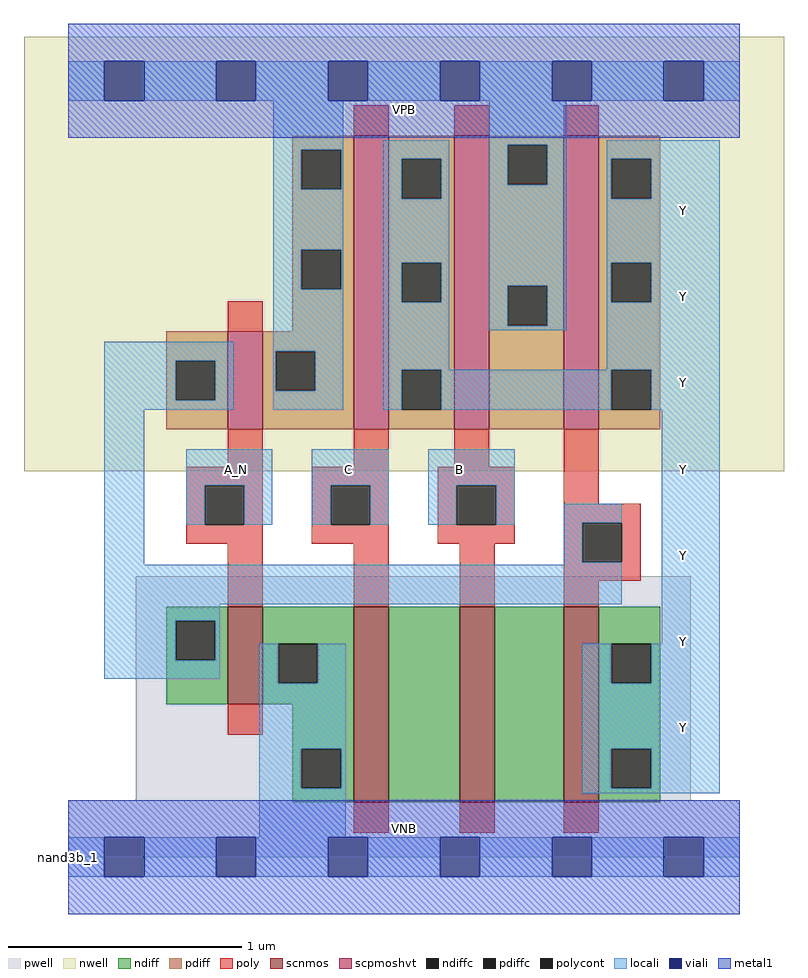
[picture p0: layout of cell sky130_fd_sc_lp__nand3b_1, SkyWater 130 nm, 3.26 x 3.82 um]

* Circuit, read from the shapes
.subckt sky130_fd_sc_lp__nand3b_1 A_N B C VGND VNB VPB VPWR Y
XM1 VGND A_N n1 VNB sky130_fd_pr__nfet_01v8 w=0.42 l=0.15
XM2 n2 C VGND VNB sky130_fd_pr__nfet_01v8 w=0.84 l=0.15
XM3 n3 B n2 VNB sky130_fd_pr__nfet_01v8 w=0.84 l=0.15
XM4 Y n1 n3 VNB sky130_fd_pr__nfet_01v8 w=0.84 l=0.15
XM5 VPWR A_N n1 VPB sky130_fd_pr__pfet_01v8_hvt w=0.42 l=0.15
XM6 Y C VPWR VPB sky130_fd_pr__pfet_01v8_hvt w=1.26 l=0.15
XM7 VPWR B Y VPB sky130_fd_pr__pfet_01v8_hvt w=1.26 l=0.15
XM8 Y n1 VPWR VPB sky130_fd_pr__pfet_01v8_hvt w=1.26 l=0.15
.ends

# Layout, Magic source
magic
tech sky130A
magscale 1 2
<< nwell >>
rect -38 331 614 704
<< pwell >>
rect 58 49 534 241
rect 0 0 576 49
<< scnmos >>
rect 137 131 167 215
rect 245 47 275 215
rect 336 47 366 215
rect 425 47 455 215
<< scpmoshvt >>
rect 137 367 167 451
rect 245 367 275 619
rect 331 367 361 619
rect 425 367 455 619
<< ndiff >>
rect 84 203 137 215
rect 84 169 92 203
rect 126 169 137 203
rect 84 131 137 169
rect 167 183 245 215
rect 167 149 180 183
rect 214 149 245 183
rect 167 131 245 149
rect 192 93 245 131
rect 192 59 200 93
rect 234 59 245 93
rect 192 47 245 59
rect 275 47 336 215
rect 366 47 425 215
rect 455 183 508 215
rect 455 149 466 183
rect 500 149 508 183
rect 455 93 508 149
rect 455 59 466 93
rect 500 59 508 93
rect 455 47 508 59
<< pdiff >>
rect 192 607 245 619
rect 192 573 200 607
rect 234 573 245 607
rect 192 521 245 573
rect 192 487 200 521
rect 234 487 245 521
rect 192 451 245 487
rect 84 426 137 451
rect 84 392 92 426
rect 126 392 137 426
rect 84 367 137 392
rect 167 434 245 451
rect 167 400 178 434
rect 212 400 245 434
rect 167 367 245 400
rect 275 599 331 619
rect 275 565 286 599
rect 320 565 331 599
rect 275 510 331 565
rect 275 476 286 510
rect 320 476 331 510
rect 275 418 331 476
rect 275 384 286 418
rect 320 384 331 418
rect 275 367 331 384
rect 361 611 425 619
rect 361 577 377 611
rect 411 577 425 611
rect 361 490 425 577
rect 361 456 377 490
rect 411 456 425 490
rect 361 367 425 456
rect 455 599 508 619
rect 455 565 466 599
rect 500 565 508 599
rect 455 510 508 565
rect 455 476 466 510
rect 500 476 508 510
rect 455 418 508 476
rect 455 384 466 418
rect 500 384 508 418
rect 455 367 508 384
<< ndiffc >>
rect 92 169 126 203
rect 180 149 214 183
rect 200 59 234 93
rect 466 149 500 183
rect 466 59 500 93
<< pdiffc >>
rect 200 573 234 607
rect 200 487 234 521
rect 92 392 126 426
rect 178 400 212 434
rect 286 565 320 599
rect 286 476 320 510
rect 286 384 320 418
rect 377 577 411 611
rect 377 456 411 490
rect 466 565 500 599
rect 466 476 500 510
rect 466 384 500 418
<< poly >>
rect 245 619 275 645
rect 331 619 361 645
rect 425 619 455 645
rect 137 451 167 477
rect 137 335 167 367
rect 245 335 275 367
rect 331 335 361 367
rect 101 319 167 335
rect 101 285 117 319
rect 151 285 167 319
rect 101 269 167 285
rect 209 319 275 335
rect 209 285 225 319
rect 259 285 275 319
rect 209 269 275 285
rect 317 319 383 335
rect 317 285 333 319
rect 367 285 383 319
rect 317 269 383 285
rect 425 303 455 367
rect 425 287 491 303
rect 137 215 167 269
rect 245 215 275 269
rect 336 215 366 269
rect 425 253 441 287
rect 475 253 491 287
rect 425 237 491 253
rect 425 215 455 237
rect 137 105 167 131
rect 245 21 275 47
rect 336 21 366 47
rect 425 21 455 47
<< polycont >>
rect 117 285 151 319
rect 225 285 259 319
rect 333 285 367 319
rect 441 253 475 287
<< locali >>
rect 0 649 31 683
rect 65 649 127 683
rect 161 649 223 683
rect 257 649 319 683
rect 353 649 415 683
rect 449 649 511 683
rect 545 649 576 683
rect 176 607 236 649
rect 176 573 200 607
rect 234 573 236 607
rect 176 521 236 573
rect 176 487 200 521
rect 234 487 236 521
rect 31 426 142 442
rect 31 392 92 426
rect 126 392 142 426
rect 31 384 142 392
rect 176 434 236 487
rect 176 400 178 434
rect 212 400 236 434
rect 176 384 236 400
rect 270 599 327 615
rect 270 565 286 599
rect 320 565 327 599
rect 270 510 327 565
rect 270 476 286 510
rect 320 476 327 510
rect 270 418 327 476
rect 361 611 427 649
rect 361 577 377 611
rect 411 577 427 611
rect 361 490 427 577
rect 361 456 377 490
rect 411 456 427 490
rect 361 452 427 456
rect 462 599 559 615
rect 462 565 466 599
rect 500 565 559 599
rect 462 510 559 565
rect 462 476 466 510
rect 500 476 559 510
rect 462 418 559 476
rect 270 384 286 418
rect 320 384 466 418
rect 500 384 559 418
rect 31 251 65 384
rect 101 319 175 350
rect 101 285 117 319
rect 151 285 175 319
rect 209 319 275 350
rect 209 285 225 319
rect 259 285 275 319
rect 309 319 383 350
rect 309 285 333 319
rect 367 285 383 319
rect 425 287 475 303
rect 425 253 441 287
rect 425 251 475 253
rect 31 217 475 251
rect 31 203 130 217
rect 31 169 92 203
rect 126 169 130 203
rect 509 183 559 384
rect 31 153 130 169
rect 164 149 180 183
rect 214 149 238 183
rect 164 93 238 149
rect 164 59 200 93
rect 234 59 238 93
rect 164 17 238 59
rect 441 149 466 183
rect 500 149 559 183
rect 441 93 559 149
rect 441 59 466 93
rect 500 59 559 93
rect 441 55 559 59
rect 0 -17 31 17
rect 65 -17 127 17
rect 161 -17 223 17
rect 257 -17 319 17
rect 353 -17 415 17
rect 449 -17 511 17
rect 545 -17 576 17
<< viali >>
rect 31 649 65 683
rect 127 649 161 683
rect 223 649 257 683
rect 319 649 353 683
rect 415 649 449 683
rect 511 649 545 683
rect 31 -17 65 17
rect 127 -17 161 17
rect 223 -17 257 17
rect 319 -17 353 17
rect 415 -17 449 17
rect 511 -17 545 17
<< metal1 >>
rect 0 683 576 715
rect 0 649 31 683
rect 65 649 127 683
rect 161 649 223 683
rect 257 649 319 683
rect 353 649 415 683
rect 449 649 511 683
rect 545 649 576 683
rect 0 617 576 649
rect 0 17 576 49
rect 0 -17 31 17
rect 65 -17 127 17
rect 161 -17 223 17
rect 257 -17 319 17
rect 353 -17 415 17
rect 449 -17 511 17
rect 545 -17 576 17
rect 0 -49 576 -17
<< labels >>
flabel pwell s 0 0 576 49 0 FreeSans 200 0 0 0 VNB
port 5 nsew ground bidirectional
flabel nwell s 0 617 576 666 0 FreeSans 200 0 0 0 VPB
port 6 nsew power bidirectional
rlabel comment s 0 0 0 0 4 nand3b_1
flabel metal1 s 0 617 576 666 0 FreeSans 340 0 0 0 VPWR
port 7 nsew power bidirectional
flabel metal1 s 0 0 576 49 0 FreeSans 340 0 0 0 VGND
port 4 nsew ground bidirectional
flabel locali s 319 316 353 350 0 FreeSans 340 0 0 0 B
port 2 nsew signal input
flabel locali s 223 316 257 350 0 FreeSans 340 0 0 0 C
port 3 nsew signal input
flabel locali s 127 316 161 350 0 FreeSans 340 0 0 0 A_N
port 1 nsew signal input
flabel locali s 511 94 545 128 0 FreeSans 340 0 0 0 Y
port 8 nsew signal output
flabel locali s 511 168 545 202 0 FreeSans 340 0 0 0 Y
port 8 nsew signal output
flabel locali s 511 242 545 276 0 FreeSans 340 0 0 0 Y
port 8 nsew signal output
flabel locali s 511 316 545 350 0 FreeSans 340 0 0 0 Y
port 8 nsew signal output
flabel locali s 511 390 545 424 0 FreeSans 340 0 0 0 Y
port 8 nsew signal output
flabel locali s 511 464 545 498 0 FreeSans 340 0 0 0 Y
port 8 nsew signal output
flabel locali s 511 538 545 572 0 FreeSans 340 0 0 0 Y
port 8 nsew signal output
<< properties >>
string LEFsite unit
string LEFclass CORE
string FIXED_BBOX 0 0 576 666
string GDS_FILE $PDKPATH/libs.ref/sky130_fd_sc_lp/gds/sky130_fd_sc_lp.gds
string LEFsymmetry X Y R90
string GDS_END 3710078
string GDS_START 3704210
<< end >>
